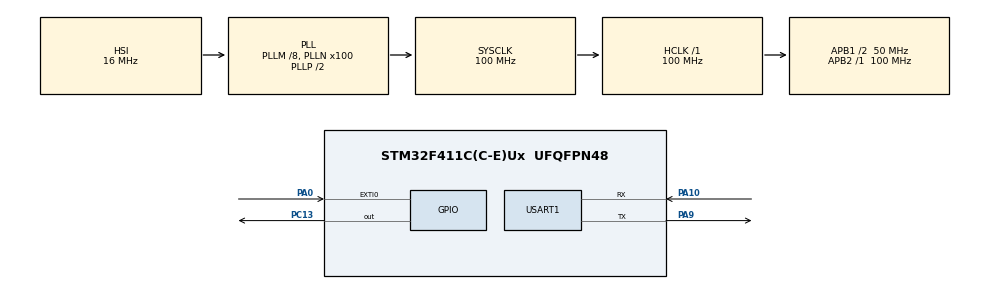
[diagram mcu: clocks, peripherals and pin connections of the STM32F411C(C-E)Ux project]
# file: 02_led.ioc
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FREERTOS.Tasks01=defaultTask,24,128,StartDefaultTask,Default,NULL,Dynamic,NULL,NULL
Mcu.Family=STM32F4
Mcu.Name=STM32F411C(C-E)Ux
Mcu.Package=UFQFPN48
NVIC.EXTI0_IRQn=true\:5\:0\:false\:false\:true\:true\:true\:true\:true
NVIC.PriorityGroup=NVIC_PRIORITYGROUP_4
NVIC.TIM1_UP_TIM10_IRQn=true\:15\:0\:false\:false\:true\:false\:false\:true\:true
NVIC.TIM2_IRQn=true\:5\:0\:false\:false\:true\:true\:true\:true\:true
NVIC.TimeBase=TIM1_UP_TIM10_IRQn
NVIC.TimeBaseIP=TIM1
PA0-WKUP.GPIO_ModeDefaultEXTI=GPIO_MODE_IT_FALLING
PA0-WKUP.GPIO_PuPd=GPIO_PULLUP
PA0-WKUP.Signal=GPXTI0
PA10.Mode=Asynchronous
PA10.Signal=USART1_RX
PA13.Mode=Serial_Wire
PA13.Signal=SYS_JTMS-SWDIO
PA14.Mode=Serial_Wire
PA14.Signal=SYS_JTCK-SWCLK
PA9.Mode=Asynchronous
PA9.Signal=USART1_TX
PC13-ANTI_TAMP.GPIO_ModeDefaultOutputPP=GPIO_MODE_OUTPUT_PP
PC13-ANTI_TAMP.GPIO_PuPd=GPIO_NOPULL
PC13-ANTI_TAMP.Signal=GPIO_Output
PC14-OSC32_IN.Mode=LSE-External-Oscillator
PC14-OSC32_IN.Signal=RCC_OSC32_IN
PC15-OSC32_OUT.Mode=LSE-External-Oscillator
PC15-OSC32_OUT.Signal=RCC_OSC32_OUT
PH0\ -\ OSC_IN.Mode=HSE-External-Oscillator
PH0\ -\ OSC_IN.Signal=RCC_OSC_IN
PH1\ -\ OSC_OUT.Mode=HSE-External-Oscillator
PH1\ -\ OSC_OUT.Signal=RCC_OSC_OUT
ProjectManager.HeapSize=0x200
ProjectManager.StackSize=0x400
ProjectManager.TargetToolchain=MDK-ARM V5.32
RCC.48MHZClocksFreq_Value=50000000
RCC.AHBFreq_Value=100000000
RCC.APB1CLKDivider=RCC_HCLK_DIV2
RCC.APB1Freq_Value=50000000
RCC.APB1TimFreq_Value=100000000
RCC.APB2Freq_Value=100000000
RCC.APB2TimFreq_Value=100000000
RCC.CortexFreq_Value=100000000
RCC.HCLKFreq_Value=100000000
RCC.HSE_VALUE=25000000
RCC.HSI_VALUE=16000000
RCC.PLLM=8
RCC.PLLN=100
RCC.SYSCLKFreq_VALUE=100000000
RCC.SYSCLKSource=RCC_SYSCLKSOURCE_PLLCLK
RCC.VCOOutputFreq_Value=200000000
TIM2.AutoReloadPreload=TIM_AUTORELOAD_PRELOAD_ENABLE
TIM2.Period=1000-1
TIM2.Prescaler=10000-1
USART1.VirtualMode=VM_ASYNC
VP_FREERTOS_VS_CMSIS_V2.Mode=CMSIS_V2
VP_SYS_VS_tim1.Mode=TIM1
VP_TIM2_VS_ClockSourceINT.Mode=Internal
board=custom

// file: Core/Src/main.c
/* USER CODE BEGIN Header */
/**
  ******************************************************************************
  * @file           : main.c
  * @brief          : Main program body
  ******************************************************************************
  * @attention
  *
  * Copyright (c) 2026 STMicroelectronics.
  * All rights reserved.
  *
  * This software is licensed under terms that can be found in the LICENSE file
  * in the root directory of this software component.
  * If no LICENSE file comes with this software, it is provided AS-IS.
  *
  ******************************************************************************
  */
/* USER CODE END Header */
#include "main.h"
#include "cmsis_os.h"
#include "tim.h"
#include "usart.h"
#include "gpio.h"

/* USER CODE BEGIN Includes */
#include <stdio.h>
#include "bsp_led.h"
/* USER CODE END Includes */

void SystemClock_Config(void);
void MX_FREERTOS_Init(void);

/* USER CODE BEGIN 0 */

//重定向串口
#ifdef __GNUC__
#define PUTCHAR_PROTOTYPE int
#else
#define PUTCHAR_PROTOTYPE int fputc(int ch, FILE *f)
#endif
PUTCHAR_PROTOTYPE
{
HAL_UART_Transmit(&huart1, (uint8_t *)&ch, 1, 0xFFFF);
return ch;
}

/* USER CODE END 0 */

int main(void)
{

  /* MCU Configuration--------------------------------------------------------*/

  /* Reset of all peripherals, Initializes the Flash interface and the Systick. */
  HAL_Init();

  /* Configure the system clock */
  SystemClock_Config();

  /* Initialize all configured peripherals */
  MX_GPIO_Init();
  MX_USART1_UART_Init();
  MX_TIM2_Init();
  /* USER CODE BEGIN 2 */
  HAL_TIM_Base_Start_IT(&htim2);
  /* USER CODE END 2 */

  /* Init scheduler */
  osKernelInitialize();  /* Call init function for freertos objects (in cmsis_os2.c) */
  MX_FREERTOS_Init();

  /* Start scheduler */
  osKernelStart();

  /* We should never get here as control is now taken by the scheduler */

  /* Infinite loop */
  while (1)
  {

  }
}

void SystemClock_Config(void)
{
  RCC_OscInitTypeDef RCC_OscInitStruct = {0};
  RCC_ClkInitTypeDef RCC_ClkInitStruct = {0};

  /** Configure the main internal regulator output voltage
  */
  __HAL_RCC_PWR_CLK_ENABLE();
  __HAL_PWR_VOLTAGESCALING_CONFIG(PWR_REGULATOR_VOLTAGE_SCALE1);

  /** Initializes the RCC Oscillators according to the specified parameters
  * in the RCC_OscInitTypeDef structure.
  */
  RCC_OscInitStruct.OscillatorType = RCC_OSCILLATORTYPE_HSI;
  RCC_OscInitStruct.HSIState = RCC_HSI_ON;
  RCC_OscInitStruct.HSICalibrationValue = RCC_HSICALIBRATION_DEFAULT;
  RCC_OscInitStruct.PLL.PLLState = RCC_PLL_ON;
  RCC_OscInitStruct.PLL.PLLSource = RCC_PLLSOURCE_HSI;
  RCC_OscInitStruct.PLL.PLLM = 8;
  RCC_OscInitStruct.PLL.PLLN = 100;
  RCC_OscInitStruct.PLL.PLLP = RCC_PLLP_DIV2;
  RCC_OscInitStruct.PLL.PLLQ = 4;
  if (HAL_RCC_OscConfig(&RCC_OscInitStruct) != HAL_OK)
  {
    Error_Handler();
  }

  /** Initializes the CPU, AHB and APB buses clocks
  */
  RCC_ClkInitStruct.ClockType = RCC_CLOCKTYPE_HCLK|RCC_CLOCKTYPE_SYSCLK
                              |RCC_CLOCKTYPE_PCLK1|RCC_CLOCKTYPE_PCLK2;
  RCC_ClkInitStruct.SYSCLKSource = RCC_SYSCLKSOURCE_PLLCLK;
  RCC_ClkInitStruct.AHBCLKDivider = RCC_SYSCLK_DIV1;
  RCC_ClkInitStruct.APB1CLKDivider = RCC_HCLK_DIV2;
  RCC_ClkInitStruct.APB2CLKDivider = RCC_HCLK_DIV1;

  if (HAL_RCC_ClockConfig(&RCC_ClkInitStruct, FLASH_LATENCY_3) != HAL_OK)
  {
    Error_Handler();
  }
}

void HAL_TIM_PeriodElapsedCallback(TIM_HandleTypeDef *htim)
{
  if (htim->Instance == TIM1)
  {
    HAL_IncTick();
  }
  /* USER CODE BEGIN Callback 1 */
  if (htim->Instance == TIM2) {
    led_callback_in_timer();
  }
  /* USER CODE END Callback 1 */
}

void Error_Handler(void)
{
  __disable_irq();
  while (1)
  {
  }
}

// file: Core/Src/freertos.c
/* USER CODE BEGIN Header */
/**
  ******************************************************************************
  * File Name          : freertos.c
  * Description        : Code for freertos applications
  ******************************************************************************
  * @attention
  *
  * Copyright (c) 2026 STMicroelectronics.
  * All rights reserved.
  *
  * This software is licensed under terms that can be found in the LICENSE file
  * in the root directory of this software component.
  * If no LICENSE file comes with this software, it is provided AS-IS.
  *
  ******************************************************************************
  */
/* USER CODE END Header */

#include "FreeRTOS.h"
#include "task.h"
#include "main.h"
#include "cmsis_os.h"

/* USER CODE BEGIN Includes */
//#include <stdio.h>
#include "bsp_key.h"
#include "queue.h"
#include "bsp_led.h"

/* USER CODE END Includes */

/* Definitions for defaultTask */
osThreadId_t defaultTaskHandle;
const osThreadAttr_t defaultTask_attributes = {
  .name = "defaultTask",
  .stack_size = 128 * 4,
  .priority = (osPriority_t) osPriorityNormal,
};

/* USER CODE BEGIN FunctionPrototypes */

osThreadId_t key_TaskHandle;
const osThreadAttr_t key_Task_attributes = {
  .name = "key_Task",
  .stack_size = 128 * 4,
  .priority = (osPriority_t) osPriorityNormal,
};

osThreadId_t led_TaskHandle;
const osThreadAttr_t led_Task_attributes = {
  .name = "led_Task",
  .stack_size = 128 * 4,
  .priority = (osPriority_t) osPriorityNormal,
};

//*********************Queue_Handler ********************//
QueueHandle_t key_queue;
QueueHandle_t led_queue;

//*********************Queue_Handler ********************//

void KeyDefaultTask(void *argument);

void LedDefaultTask(void *argument);
/* USER CODE END FunctionPrototypes */

void StartDefaultTask(void *argument);

void MX_FREERTOS_Init(void); /* (MISRA C 2004 rule 8.1) */

void MX_FREERTOS_Init(void) {

  /* USER CODE BEGIN RTOS_QUEUES */
  /* add queues, ... */
//  key_queue = xQueueCreate( 10, sizeof( uint32_t ) );
  /* USER CODE END RTOS_QUEUES */

  /* Create the thread(s) */
  /* creation of defaultTask */
  defaultTaskHandle = osThreadNew(StartDefaultTask, NULL, &defaultTask_attributes);

  /* USER CODE BEGIN RTOS_THREADS */
  /* add threads, ... */
  key_TaskHandle = osThreadNew(KeyDefaultTask, NULL, &key_Task_attributes);
  led_TaskHandle = osThreadNew(LedDefaultTask, NULL, &led_Task_attributes);
  /* USER CODE END RTOS_THREADS */

}

void StartDefaultTask(void *argument)
{
  /* USER CODE BEGIN StartDefaultTask */
	osDelay(500);
	key_press_status_t key_result = KEY_SHORT_PRESSED;
    for(;;)
    {
        printf("APP task is living\r\n");

        if ( pdTRUE == xQueueReceive(        key_queue,
                                           &key_result,
                                                    0) )
        {
            printf( "key_result receive successfully"
                    " at [%d] tick \r\n",
                                    HAL_GetTick());

            //Send the message to the led
            if( KEY_SHORT_PRESSED == key_result)
            {
                led_operation_t led_value          =       LED_BLINK_1_TIMES;

                if ( NULL == led_queue )
                {
                    printf( "led_queue not created"
                            " at [%d] tick \r\n",
                                          HAL_GetTick());
                }
                if ( pdTRUE == xQueueSendToFront(          led_queue,
                                                      &( led_value ),
                                                    ( TickType_t )0))
                {
                    printf( "led_queue send led_value successfully"
                            " at [%d] tick \r\n",
                                          HAL_GetTick());
                }
            }
            if( KEY_LONG_PRESSED == key_result)
            {
                led_operation_t led_value          =       LED_BLINK_10_TIMES;

                if ( NULL == led_queue )
                {
                    printf( "led_queue not created"
                            " at [%d] tick \r\n",
                                          HAL_GetTick());
                }
                if ( pdTRUE == xQueueSendToFront(          led_queue,
                                                      &( led_value ),
                                                    ( TickType_t )0))
                {
                    printf( "led_queue send led_value successfully"
                            " at [%d] tick \r\n",
                                          HAL_GetTick());
                }
            }
        }

      osDelay(100);
  }
  /* USER CODE END StartDefaultTask */
}

/* USER CODE BEGIN Application */

void KeyDefaultTask(void *argument)
{
  /* USER CODE BEGIN StartDefaultTask */
  /* Infinite loop */
  /**     Variables (in task stack)                              **/
    uint32_t           event_index         =                        0;
    uint32_t           frist_trigger_tick  =                        0;
    uint32_t           short_press_time    =         SHORT_PRESS_TIME;
    key_press_event_t  key_press_event     =
    {
     .edge_type = RASING,
     .trigger_tick = 0
    };
    /**     Variables (in task stack)                              **/

    /**     Variables (in OS heap )                                **/
    key_queue       = xQueueCreate( 10, sizeof( key_press_status_t ));
    inter_key_queue = xQueueCreate( 10, sizeof( key_press_event_t  ));
    /**     Variables (in OS heap )                                **/

    // check if the queue has been created successfully
    if (NULL == key_queue     ||
        NULL == inter_key_queue)
    {
        printf("key_queue created failed \r\n");
        return;
    }
    else
    {
        printf("key_queue created successfully \r\n");
    }

    for(;;)
    {
        printf( "key_task_func running "
                " at [%d] tick \r\n",  HAL_GetTick());
        //1. check if there is new data about the key press in the queue
        if( pdTRUE == xQueueReceive(           inter_key_queue,
                                          &( key_press_event ),
                                           ( TickType_t ) 0 ) )
        {
            printf("key_press_event.trigger_tick = [%d]\r\n",
                                 key_press_event.trigger_tick);
            printf( "inter_key_queue receive key event "
                    " at [%d] tick \r\n",  HAL_GetTick());
            //1.1 if there is the new data about the key,
            //then update it in state machine
            if( RASING  == key_press_event.edge_type &&
                0       ==                event_index )
            {
                printf("key RASING fetched! error!");
            }
            if( FAILING == key_press_event.edge_type &&
                0       ==                event_index)
            {
                printf("key FAILING fetched! first\r\n");
                //chang the index for chaging the state machine
                event_index += 1;

                //Mark the first tick when event coming
                frist_trigger_tick  = key_press_event.trigger_tick;
            }
            if( RASING  == key_press_event.edge_type &&
                1       ==                event_index )
            {
                printf("key RASING after the falling ");
                //1.1.1 if the interval in new key event between two key
                // is less than 10ms,
                if ( key_press_event.trigger_tick - frist_trigger_tick < 10)
                {
                    // 1.1.1.1 the new key press event is not valid
                    printf( "Invalid key fetched "
                            " at [%d] tick \r\n",  HAL_GetTick());
                    continue;
                }

                //1.1.2 if the interval in new key event between two key
                // is more than 10ms, then the key press event is valid
                // 1.1.2.1 the new key press event is valid
                // 1.1.2.1.1 if the interval is less than the short_press time
                // then it should be short press.
                if ( (key_press_event.trigger_tick - frist_trigger_tick) \
                                                           < short_press_time )
                {
                    // 1.1.2.1.1.1 send the short press message to key_queue
                    key_press_status_t key_result = KEY_SHORT_PRESSED;

                    if ( pdTRUE == xQueueSendToFront(        key_queue,
                                                           &key_result,
                                                           0))
                    {
                        printf( "key_result send short press successfully"
                                " at [%d] tick \r\n",
                                               HAL_GetTick());
                        event_index = 0;
                    }
                    else
                    {
                        printf("key_result send short press failed"
                               "at [%d] tick \r\n",
                                         HAL_GetTick());
                    }
                }

                // 1.1.2.1.2 if the interval is more than the short_press time
                // then it should be long press.
                if ( (key_press_event.trigger_tick - frist_trigger_tick) \
                                                           > short_press_time )
                {
                    // 1.1.2.1.2.1 send the short press message to key_queue
                    key_press_status_t key_result = KEY_LONG_PRESSED;

                    if ( pdTRUE == xQueueSendToFront(        key_queue,
                                                           &key_result,
                                                           0))
                    {
                        printf( "key_result send long press successfully"
                                " at [%d] tick \r\n",
                                               HAL_GetTick());
                        event_index = 0;
                    }
                    else
                    {
                        printf("key_result send long press failed"
                               "at [%d] tick \r\n",
                                         HAL_GetTick());
                    }
                }

            }

        }
    osDelay(100);

  }

  /* USER CODE END StartDefaultTask */
}

void LedDefaultTask(void *argument)
{
  /* USER CODE BEGIN StartDefaultTask */
  /* Infinite loop */
  led_status_t      led_ret          =          LED_OK;
  led_operation_t led_value          =          LED_ON;

  led_queue = xQueueCreate( 10, sizeof( led_operation_t ) );
  if (NULL == led_queue )
  {
      printf("led_queue created failed \r\n");
  }
  else
  {
      printf("led_queue created successfully \r\n");
  }
  for(;;)
  {
    printf("Hello led thread\r\n");

    if( led_queue != 0 )
	{
		// Receive a message on the created queue.  Block for 10 ticks if a
		// message is not immediately available.
		if( pdTRUE == xQueueReceive(                led_queue,
                                               &( led_value ),
                                        ( TickType_t ) 0 ) )
		{
			// pcRxedMessage now points to the struct AMessage variable posted
			// by vATask.
            printf("received led_queue value = [%d] at time [%d] \r\n " ,
                                                                     led_value,
                                                                HAL_GetTick());
            led_ret = led_on_off_timer_irq(led_value);
            if ( LED_OK == led_ret )
            {
                printf("led_on_off successfully at time [%d] \r\n", \
                                                               HAL_GetTick() );
            }
		}
	}
	osDelay(100);
  }
  /* USER CODE END StartDefaultTask */
}

/* USER CODE END Application */
